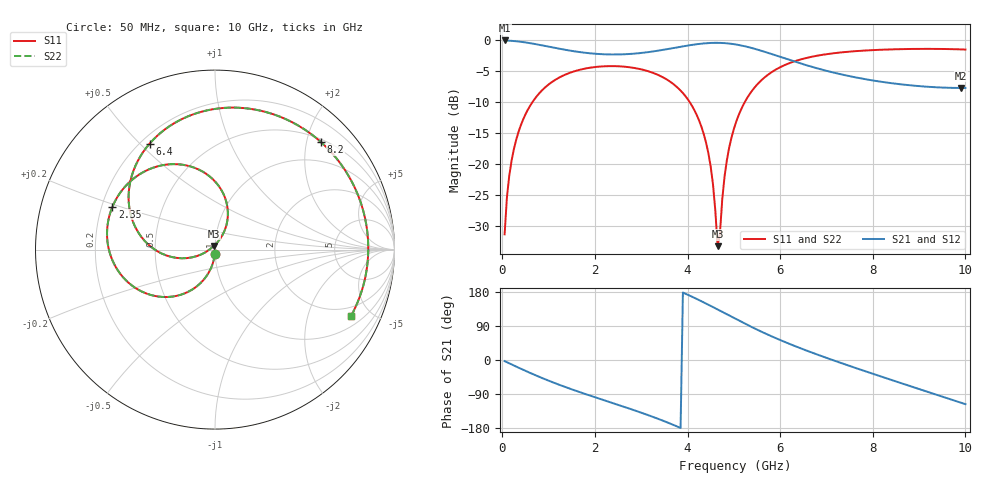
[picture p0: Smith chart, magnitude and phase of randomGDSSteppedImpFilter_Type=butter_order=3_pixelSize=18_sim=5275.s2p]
! freq	dB(S11)	phase(S11)	dB(S12)	phase(S12)
!  dB(S21)	phase(S21)	dB(S22)	phase(S22)
!S-par simulation data
#  GHz  S  DB  R 50
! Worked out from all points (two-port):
!   200 points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, 50 MHz to 10 GHz, reference 50 ohm
!   highest |S21| = -0.01 dB at 50 MHz (marker M1); lowest = -7.7 dB at 9.9 GHz (marker M2)
!   |S21| within 3 dB of the highest: start of sweep to 6.14 GHz
!   lowest |S11| = -33.3 dB at 4.65 GHz (marker M3), VSWR 1.04, Z = 49.3 + j2.01 ohm
!   |S11| at or under -10 dB: start of sweep to 650.5 MHz; 4.047 GHz to 5.236 GHz (1.189 GHz wide, 25.6 % of centre)
!   |S22| runs from -33.4 to -1.4 dB; largest |S21 - S12| = 0
!   S11 on the Smith chart (normalised r, x): 50 MHz: 1.00, -0.05; 2.35 GHz: 0.24, +0.19; 6.4 GHz: 0.23, +0.53; 8.2 GHz: 0.55, +2.27; 10 GHz: 1.48, -3.79
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0.05  -31.40 -93.1  -0.01 -3.0  -0.01 -3.0  -31.40 -93.1
0.1  -25.41 -96.2  -0.02 -5.9  -0.02 -5.9  -25.41 -96.2
0.2  -19.49 -102.2  -0.07 -11.7  -0.07 -11.7  -19.49 -102.2
0.5  -11.98 -119.1  -0.32 -28.6  -0.32 -28.6  -11.98 -119.1
1.05  -6.86 -147.4  -1.08 -57.0  -1.08 -57.0  -6.86 -147.4
1.75  -4.62 -178.5  -1.97 -88.0  -1.97 -88.0  -4.62 -178.5
2.35  -4.16 157.3  -2.28 -112.3  -2.28 -112.3  -4.16 157.3
3.4  -5.71 113.4  -1.62 -156.9  -1.62 -156.9  -5.71 113.4
4.3  -13.99 69.0  -0.52 155.1  -0.52 155.1  -13.99 69.0
4.5  -20.43 62.8  -0.41 142.8  -0.41 142.8  -20.43 62.7
4.65  -33.33 108.8  -0.39 133.3  -0.39 133.3  -33.35 108.8
4.85  -19.37 -160.3  -0.47 120.5  -0.47 120.5  -19.37 -160.3
5.05  -13.19 -167.8  -0.67 107.7  -0.67 107.7  -13.19 -167.8
5.7  -5.77 156.6  -1.93 68.8  -1.93 68.8  -5.77 156.5
6.4  -3.17 121.6  -3.63 32.9  -3.63 32.9  -3.17 121.6
6.7  -2.62 108.0  -4.31 18.9  -4.31 18.9  -2.62 108.0
7.45  -1.85 76.0  -5.72 -13.6  -5.72 -13.6  -1.85 76.0
8.2  -1.50 45.5  -6.72 -44.5  -6.72 -44.5  -1.50 45.5
8.35  -1.46 39.5  -6.88 -50.5  -6.88 -50.5  -1.46 39.5
9.15  -1.37 7.7  -7.49 -82.7  -7.49 -82.7  -1.37 7.6
9.9  -1.45 -22.0  -7.70 -112.5  -7.70 -112.5  -1.45 -22.1
10  -1.48 -26.0  -7.70 -116.5  -7.70 -116.5  -1.48 -26.0
